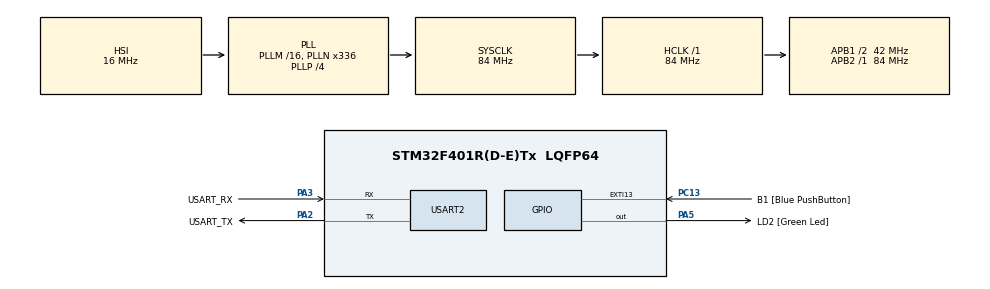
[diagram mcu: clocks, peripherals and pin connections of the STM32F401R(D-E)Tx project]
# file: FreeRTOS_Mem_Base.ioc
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FREERTOS.Tasks01=defaultTask,0,128,StartDefaultTask,Default,NULL,Dynamic,NULL,NULL
FREERTOS.configMINIMAL_STACK_SIZE=64
FREERTOS.configTOTAL_HEAP_SIZE=4096
FREERTOS.configUSE_NEWLIB_REENTRANT=1
FREERTOS.configUSE_TIMERS=0
Mcu.Family=STM32F4
Mcu.Name=STM32F401R(D-E)Tx
Mcu.Package=LQFP64
NVIC.PriorityGroup=NVIC_PRIORITYGROUP_4
NVIC.TIM2_IRQn=true\:15\:0\:false\:false\:true\:false\:false\:true\:true
NVIC.TimeBase=TIM2_IRQn
NVIC.TimeBaseIP=TIM2
PA13.GPIO_Label=TMS
PA13.Mode=Serial_Wire
PA13.Signal=SYS_JTMS-SWDIO
PA14.GPIO_Label=TCK
PA14.Mode=Serial_Wire
PA14.Signal=SYS_JTCK-SWCLK
PA2.GPIO_Label=USART_TX
PA2.GPIO_Mode=GPIO_MODE_AF_PP
PA2.GPIO_PuPd=GPIO_NOPULL
PA2.GPIO_Speed=GPIO_SPEED_FREQ_LOW
PA2.Mode=Asynchronous
PA2.Signal=USART2_TX
PA3.GPIO_Label=USART_RX
PA3.GPIO_Mode=GPIO_MODE_AF_PP
PA3.GPIO_PuPd=GPIO_NOPULL
PA3.GPIO_Speed=GPIO_SPEED_FREQ_LOW
PA3.Mode=Asynchronous
PA3.Signal=USART2_RX
PA5.GPIO_Label=LD2 [Green Led]
PA5.GPIO_Mode=GPIO_MODE_OUTPUT_PP
PA5.GPIO_PuPd=GPIO_NOPULL
PA5.GPIO_Speed=GPIO_SPEED_FREQ_LOW
PA5.Signal=GPIO_Output
PC13-ANTI_TAMP.GPIO_Label=B1 [Blue PushButton]
PC13-ANTI_TAMP.GPIO_ModeDefaultEXTI=GPIO_MODE_IT_FALLING
PC13-ANTI_TAMP.GPIO_PuPd=GPIO_NOPULL
PC13-ANTI_TAMP.Signal=GPXTI13
PC14-OSC32_IN.Mode=LSE-External-Oscillator
PC14-OSC32_IN.Signal=RCC_OSC32_IN
PC15-OSC32_OUT.Mode=LSE-External-Oscillator
PC15-OSC32_OUT.Signal=RCC_OSC32_OUT
PH0\ -\ OSC_IN.Mode=HSE-External-Clock-Source
PH0\ -\ OSC_IN.Signal=RCC_OSC_IN
PH1\ -\ OSC_OUT.Mode=HSE-External-Clock-Source
PH1\ -\ OSC_OUT.Signal=RCC_OSC_OUT
ProjectManager.HeapSize=0x200
ProjectManager.StackSize=0x400
ProjectManager.TargetToolchain=STM32CubeIDE
RCC.48MHZClocksFreq_Value=48000000
RCC.AHBFreq_Value=84000000
RCC.APB1CLKDivider=RCC_HCLK_DIV2
RCC.APB1Freq_Value=42000000
RCC.APB1TimFreq_Value=84000000
RCC.APB2Freq_Value=84000000
RCC.APB2TimFreq_Value=84000000
RCC.CortexFreq_Value=84000000
RCC.HCLKFreq_Value=84000000
RCC.HSE_VALUE=8000000
RCC.HSI_VALUE=16000000
RCC.PLLN=336
RCC.PLLP=RCC_PLLP_DIV4
RCC.PLLQ=7
RCC.SYSCLKFreq_VALUE=84000000
RCC.SYSCLKSource=RCC_SYSCLKSOURCE_PLLCLK
RCC.VCOOutputFreq_Value=336000000
USART2.VirtualMode=VM_ASYNC
VP_FREERTOS_VS_CMSIS_V1.Mode=CMSIS_V1
VP_SYS_VS_tim2.Mode=TIM2
board=NUCLEO-F401RE

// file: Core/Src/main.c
/* USER CODE BEGIN Header */
/**
  ******************************************************************************
  * @file           : main.c
  * @brief          : Main program body
  ******************************************************************************
  * @attention
  *
  * Copyright (c) 2024 STMicroelectronics.
  * All rights reserved.
  *
  * This software is licensed under terms that can be found in the LICENSE file
  * in the root directory of this software component.
  * If no LICENSE file comes with this software, it is provided AS-IS.
  *
  ******************************************************************************
  */
/* USER CODE END Header */
#include "main.h"
//#include "cmsis_os.h"

/* USER CODE BEGIN Includes */
#include "FreeRTOS.h"
#include "task.h"
#include "timers.h"
#include "queue.h"
#include "semphr.h"
#include "event_groups.h"

#include "string.h"
#include "stdio.h"

/* USER CODE END Includes */

/* USER CODE BEGIN PTD */
/**************** STRUCTURE DEFINITION *****************/
typedef struct {
	char *str;
	int counter;
	uint16_t large_value;
  float temperature;
} my_struct;

/* USER CODE END PTD */

UART_HandleTypeDef huart2;

//osThreadId defaultTaskHandle;
/* USER CODE BEGIN PV */
/**************** QUEUE HANDLER *****************/
xQueueHandle St_Queue_Handler;

/**************** TASK HANDLER *****************/
xTaskHandle Sender1_Task_Handler;
xTaskHandle Sender2_Task_Handler;
xTaskHandle Receiver_Task_Handler;

int indx1 = 0;
int indx2 = 0;

/* USER CODE END PV */

void SystemClock_Config(void);
static void MX_GPIO_Init(void);
static void MX_USART2_UART_Init(void);
//void StartDefaultTask(void const * argument);

/* USER CODE BEGIN PFP */
/*************** TASK FUNCTIONS ****************/
void Sender1_Task (void *argument);
void Sender2_Task (void *argument);
void Receiver_Task (void *argument);
/* USER CODE END PFP */

int main(void)
{

  /* MCU Configuration--------------------------------------------------------*/

  /* Reset of all peripherals, Initializes the Flash interface and the Systick. */
  HAL_Init();

  /* Configure the system clock */
  SystemClock_Config();

  /* Initialize all configured peripherals */
  MX_GPIO_Init();
  MX_USART2_UART_Init();
  /* USER CODE BEGIN 2 */
  /***** create QUEUE *****/
    St_Queue_Handler = xQueueCreate(2, sizeof (my_struct));

    if (St_Queue_Handler == 0) // if there is some error while creating queue
    {
   	  char *str = "Unable to create STRUCTURE Queue\r\n";
   	  HAL_UART_Transmit(&huart2, (uint8_t *)str, strlen (str), HAL_MAX_DELAY);
     }
    else
     {
   	  char *str = "STRUCTURE Queue Created successfully\r\n";
   	  HAL_UART_Transmit(&huart2, (uint8_t *)str, strlen (str), HAL_MAX_DELAY);
     }

    /****** CREATE TASKS ********/
    xTaskCreate(Sender1_Task, "SENDER1", 128, NULL, 2, &Sender1_Task_Handler);
    xTaskCreate(Sender2_Task, "SENDER2", 128, NULL, 2, &Sender2_Task_Handler);
    xTaskCreate(Receiver_Task, "RECEIVER", 128, NULL, 1, &Receiver_Task_Handler);

    /**** start the scheduler ****/
    vTaskStartScheduler();
  /* USER CODE END 2 */

  /* Create the thread(s) */
  /* definition and creation of defaultTask */
  //osThreadDef(defaultTask, StartDefaultTask, osPriorityNormal, 0, 128);
  //defaultTaskHandle = osThreadCreate(osThread(defaultTask), NULL);

  /* Start scheduler */
  //osKernelStart();

  /* We should never get here as control is now taken by the scheduler */
  /* Infinite loop */
  while (1)
  {

  }
}

void SystemClock_Config(void)
{
  RCC_OscInitTypeDef RCC_OscInitStruct = {0};
  RCC_ClkInitTypeDef RCC_ClkInitStruct = {0};

  /** Configure the main internal regulator output voltage
  */
  __HAL_RCC_PWR_CLK_ENABLE();
  __HAL_PWR_VOLTAGESCALING_CONFIG(PWR_REGULATOR_VOLTAGE_SCALE2);

  /** Initializes the RCC Oscillators according to the specified parameters
  * in the RCC_OscInitTypeDef structure.
  */
  RCC_OscInitStruct.OscillatorType = RCC_OSCILLATORTYPE_HSI;
  RCC_OscInitStruct.HSIState = RCC_HSI_ON;
  RCC_OscInitStruct.HSICalibrationValue = RCC_HSICALIBRATION_DEFAULT;
  RCC_OscInitStruct.PLL.PLLState = RCC_PLL_ON;
  RCC_OscInitStruct.PLL.PLLSource = RCC_PLLSOURCE_HSI;
  RCC_OscInitStruct.PLL.PLLM = 16;
  RCC_OscInitStruct.PLL.PLLN = 336;
  RCC_OscInitStruct.PLL.PLLP = RCC_PLLP_DIV4;
  RCC_OscInitStruct.PLL.PLLQ = 7;
  if (HAL_RCC_OscConfig(&RCC_OscInitStruct) != HAL_OK)
  {
    Error_Handler();
  }

  /** Initializes the CPU, AHB and APB buses clocks
  */
  RCC_ClkInitStruct.ClockType = RCC_CLOCKTYPE_HCLK|RCC_CLOCKTYPE_SYSCLK
                              |RCC_CLOCKTYPE_PCLK1|RCC_CLOCKTYPE_PCLK2;
  RCC_ClkInitStruct.SYSCLKSource = RCC_SYSCLKSOURCE_PLLCLK;
  RCC_ClkInitStruct.AHBCLKDivider = RCC_SYSCLK_DIV1;
  RCC_ClkInitStruct.APB1CLKDivider = RCC_HCLK_DIV2;
  RCC_ClkInitStruct.APB2CLKDivider = RCC_HCLK_DIV1;

  if (HAL_RCC_ClockConfig(&RCC_ClkInitStruct, FLASH_LATENCY_2) != HAL_OK)
  {
    Error_Handler();
  }
}

static void MX_USART2_UART_Init(void)
{

  huart2.Instance = USART2;
  huart2.Init.BaudRate = 115200;
  huart2.Init.WordLength = UART_WORDLENGTH_8B;
  huart2.Init.StopBits = UART_STOPBITS_1;
  huart2.Init.Parity = UART_PARITY_NONE;
  huart2.Init.Mode = UART_MODE_TX_RX;
  huart2.Init.HwFlowCtl = UART_HWCONTROL_NONE;
  huart2.Init.OverSampling = UART_OVERSAMPLING_16;
  if (HAL_UART_Init(&huart2) != HAL_OK)
  {
    Error_Handler();
  }

}

static void MX_GPIO_Init(void)
{
  GPIO_InitTypeDef GPIO_InitStruct = {0};

  /* GPIO Ports Clock Enable */
  __HAL_RCC_GPIOC_CLK_ENABLE();
  __HAL_RCC_GPIOH_CLK_ENABLE();
  __HAL_RCC_GPIOA_CLK_ENABLE();

  /*Configure GPIO pin Output Level */
  HAL_GPIO_WritePin(LD2_GPIO_Port, LD2_Pin, GPIO_PIN_RESET);

  /*Configure GPIO pin : B1_Pin */
  GPIO_InitStruct.Pin = B1_Pin;
  GPIO_InitStruct.Mode = GPIO_MODE_IT_FALLING;
  GPIO_InitStruct.Pull = GPIO_NOPULL;
  HAL_GPIO_Init(B1_GPIO_Port, &GPIO_InitStruct);

  /*Configure GPIO pin : LD2_Pin */
  GPIO_InitStruct.Pin = LD2_Pin;
  GPIO_InitStruct.Mode = GPIO_MODE_OUTPUT_PP;
  GPIO_InitStruct.Pull = GPIO_NOPULL;
  GPIO_InitStruct.Speed = GPIO_SPEED_FREQ_LOW;
  HAL_GPIO_Init(LD2_GPIO_Port, &GPIO_InitStruct);

}

/* USER CODE BEGIN 4 */

void Sender1_Task (void *argument)
{
	my_struct *ptrtostruct;
	uint32_t TickDelay = pdMS_TO_TICKS(2000);
  float tmp_1 =0;
	while (1)
	{
		char *str = "Entered SENDER1_Task\r\n about to SEND to the queue\r\n";
		HAL_UART_Transmit(&huart2, (uint8_t *)str, strlen (str), HAL_MAX_DELAY);

		/****** ALOOCATE MEMORY TO THE PTR ********/
		ptrtostruct = pvPortMalloc(sizeof (my_struct));

		/********** LOAD THE DATA ***********/
		ptrtostruct->counter = 1+indx1;
		ptrtostruct->large_value = 1000 + indx1*100;
		ptrtostruct->str = "HELLO FROM SENDER 1 ";
    ptrtostruct->temperature = tmp_1 + 0.1;

		/***** send to the queue ****/
		if (xQueueSend(St_Queue_Handler, &ptrtostruct, portMAX_DELAY) == pdPASS)
		{
			char *str2 = " Successfully sent the to the queue\r\nLeaving SENDER1_Task\r\n\n";
			HAL_UART_Transmit(&huart2, (uint8_t *)str2, strlen (str2), HAL_MAX_DELAY);
		}

		indx1 += 1;
    tmp_1 += 1;
		vTaskDelay(TickDelay);
	}
}

void Sender2_Task (void *argument)
{
	my_struct *ptrtostruct;
  float tmp_2 = 0;
	uint32_t TickDelay = pdMS_TO_TICKS(2000);
	while (1)
	{
		char *str = "Entered SENDER2 Task\r\n about to SEND to the queue\r\n";
		HAL_UART_Transmit(&huart2, (uint8_t *)str, strlen (str), HAL_MAX_DELAY);

		/**** Allocate memory for the structure ****/
		ptrtostruct = pvPortMalloc(sizeof(my_struct));

		/**** Load the data into the Structure ****/
		ptrtostruct->str = "Sender2 says Hii!!!";
		ptrtostruct->large_value = 2000 + 200*indx2;
		ptrtostruct->counter = 2+indx2;
    ptrtostruct->temperature = tmp_2 + 0.05;
		if (xQueueSend(St_Queue_Handler,&ptrtostruct,portMAX_DELAY) == pdPASS)
		{
			char *str2 = " Successfully sent the to the queue\r\nLeaving SENDER2_Task\r\n\n";
			HAL_UART_Transmit(&huart2, (uint8_t *)str2, strlen (str2), HAL_MAX_DELAY);
		}

		indx2 += 1;
    tmp_2 += 2;
		vTaskDelay(TickDelay);
	}

}

void Receiver_Task (void *argument)
{
	my_struct *Rptrtostruct;
	uint32_t TickDelay = pdMS_TO_TICKS(3000);
	char *ptr;

	while (1)
	{
		char *str = "Entered RECEIVER Task\r\n about to RECEIVE FROM the queue\r\n";
		HAL_UART_Transmit(&huart2, (uint8_t *)str, strlen (str), HAL_MAX_DELAY);

		/**** RECEIVE FROM QUEUE *****/
		if (xQueueReceive(St_Queue_Handler, &Rptrtostruct, portMAX_DELAY) == pdPASS)
		{
			ptr = pvPortMalloc(100 * sizeof (char)); // allocate memory for the string

      sprintf (ptr, "Received from QUEUE:\r\n COUNTER = %d\r\n LARGE VALUE = %u\r\n STRING = %s\r\n TEMPERATURE = %.2f\r\n\n",Rptrtostruct->counter,Rptrtostruct->large_value, Rptrtostruct->str, Rptrtostruct->temperature);
      HAL_UART_Transmit(&huart2, (uint8_t *)ptr, strlen(ptr), HAL_MAX_DELAY);

			vPortFree(ptr);  // free the string memory
		}

		vPortFree(Rptrtostruct);  // free the structure memory

		vTaskDelay(TickDelay);
	}
}

/* USER CODE END 4 */

void StartDefaultTask(void const * argument)
{
  /* USER CODE BEGIN 5 */
//  /* Infinite loop */
//  for(;;)
//  {
//    osDelay(1);
//  }
  /* USER CODE END 5 */
}

void HAL_TIM_PeriodElapsedCallback(TIM_HandleTypeDef *htim)
{
  if (htim->Instance == TIM2) {
    HAL_IncTick();
  }
}

void Error_Handler(void)
{
  __disable_irq();
  while (1)
  {
  }
}
